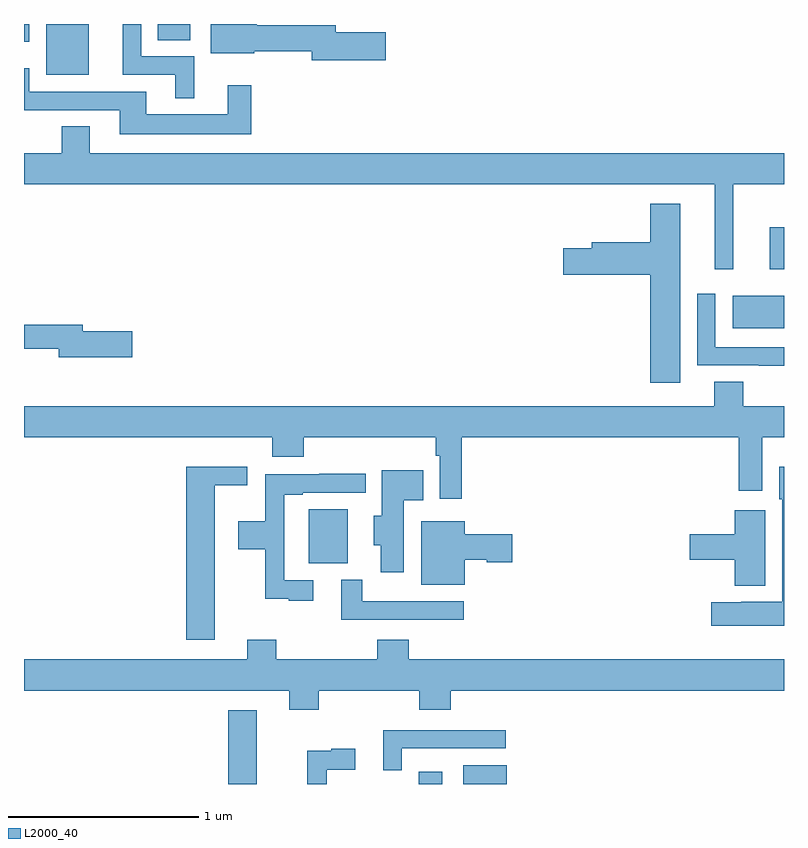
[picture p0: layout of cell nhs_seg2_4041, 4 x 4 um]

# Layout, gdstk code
import gdstk
lib = gdstk.Library(unit=1e-6, precision=1e-09)
def R(c, l, rs):  # rectangles x0, y0, x1, y1
    for r in rs: c.add(gdstk.rectangle(r[:2], r[2:], *l))
def P(c, l, *ps):  # polygons
    for p in ps: c.add(gdstk.Polygon(p, *l))
L2000_40 = (2000, 40)

nhs_seg2_4041 = lib.new_cell('nhs_seg2_4041')
R(nhs_seg2_4041, L2000_40, [(328.076,657.8,328.225,658.189), (329.078,657.8,329.2,657.865), (329.312,657.8,329.542,657.898), (328.499,658.961,328.705,659.245), (330.731,660.2,331,660.37), (330.926,660.51,331,660.729), (327.116,661.532,327.34,661.8), (327,661.706,327.028,661.8), (327.703,661.714,327.874,661.8)])
P(nhs_seg2_4041, L2000_40, [(327.895,661.629),(327.618,661.629),(327.618,661.8),(327.521,661.8),(327.521,661.533),(327.797,661.533),(327.797,661.409),(327.895,661.409)],
  [(328.903,661.757),(328.642,661.757),(328.642,661.793),(328.226,661.793),(328.226,661.8),(327.983,661.8),(327.983,661.646),(328.213,661.646),(328.213,661.657),(328.514,661.657),(328.514,661.61),(328.903,661.61)],
  [(328.195,661.477),(328.073,661.477),(328.073,661.324),(327.643,661.324),(327.643,661.443),(327.027,661.443),(327.027,661.567),(327,661.567),(327,661.347),(327.503,661.347),(327.503,661.22),(328.195,661.22)],
  [(330.734,660.956),(331,660.956),(331,661.12),(327.346,661.12),(327.346,661.262),(327.199,661.262),(327.199,661.12),(327,661.12),(327,660.956),(330.635,660.956),(330.635,660.51),(330.734,660.51)],
  [(330.454,660.853),(330.296,660.853),(330.296,660.651),(329.987,660.651),(329.987,660.621),(329.838,660.621),(329.838,660.479),(330.296,660.479),(330.296,659.913),(330.454,659.913)],
  [(331,660.099),(330.639,660.099),(330.639,660.379),(330.543,660.379),(330.543,660.003),(330.868,660.003),(330.868,660.002),(331,660.002)],
  [(327.571,660.182),(327.31,660.182),(327.31,660.218),(327,660.218),(327,660.09),(327.182,660.09),(327.182,660.047),(327.571,660.047)],
  [(329.303,659.624),(330.761,659.624),(330.761,659.343),(330.886,659.343),(330.886,659.624),(331,659.624),(331,659.788),(330.785,659.788),(330.785,659.918),(330.632,659.918),(330.632,659.788),(327,659.788),(327,659.624),(328.307,659.624),(328.307,659.522),(328.472,659.522),(328.472,659.624),(329.167,659.624),(329.167,659.528),(329.187,659.528),(329.187,659.301),(329.303,659.301)],
  [(328.003,659.372),(328.174,659.372),(328.174,659.47),(327.854,659.47),(327.854,658.56),(328.003,658.56)],
  [(331,659.47),(330.974,659.47),(330.974,659.298),(330.99,659.298),(330.99,658.758),(330.774,658.758),(330.774,658.756),(330.618,658.756),(330.618,658.634),(331,658.634)],
  [(328.999,659.294),(329.102,659.294),(329.102,659.452),(328.883,659.452),(328.883,659.211),(328.841,659.211),(328.841,659.056),(328.877,659.056),(328.877,658.914),(328.999,658.914)],
  [(328.522,658.872),(328.371,658.872),(328.371,659.322),(328.468,659.322),(328.468,659.334),(328.798,659.334),(328.798,659.432),(328.555,659.432),(328.555,659.43),(328.27,659.43),(328.27,659.182),(328.128,659.182),(328.128,659.035),(328.27,659.035),(328.27,658.775),(328.394,658.775),(328.394,658.764),(328.522,658.764)],
  [(330.901,659.242),(330.74,659.242),(330.74,659.114),(330.504,659.114),(330.504,658.979),(330.74,658.979),(330.74,658.844),(330.901,658.844)],
  [(329.32,658.979),(329.436,658.979),(329.436,658.967),(329.569,658.967),(329.569,659.114),(329.32,659.114),(329.32,659.182),(329.09,659.182),(329.09,658.85),(329.32,658.85)],
  [(329.314,658.761),(328.994,658.761),(328.994,658.762),(328.78,658.762),(328.78,658.876),(328.67,658.876),(328.67,658.665),(329.314,658.665)],
  [(328.859,658.558),(328.859,658.456),(328.328,658.456),(328.328,658.558),(328.175,658.558),(328.175,658.456),(327,658.456),(327,658.292),(328.397,658.292),(328.397,658.19),(328.55,658.19),(328.55,658.292),(329.081,658.292),(329.081,658.19),(329.246,658.19),(329.246,658.292),(331,658.292),(331,658.456),(329.024,658.456),(329.024,658.558)],
  [(328.989,657.987),(329.536,657.987),(329.536,658.083),(328.892,658.083),(328.892,657.872),(328.989,657.872)],
  [(328.593,657.876),(328.744,657.876),(328.744,657.985),(328.616,657.985),(328.616,657.974),(328.492,657.974),(328.492,657.8),(328.593,657.8)])

lib.write_gds('nhs_seg2_4041.gds')
